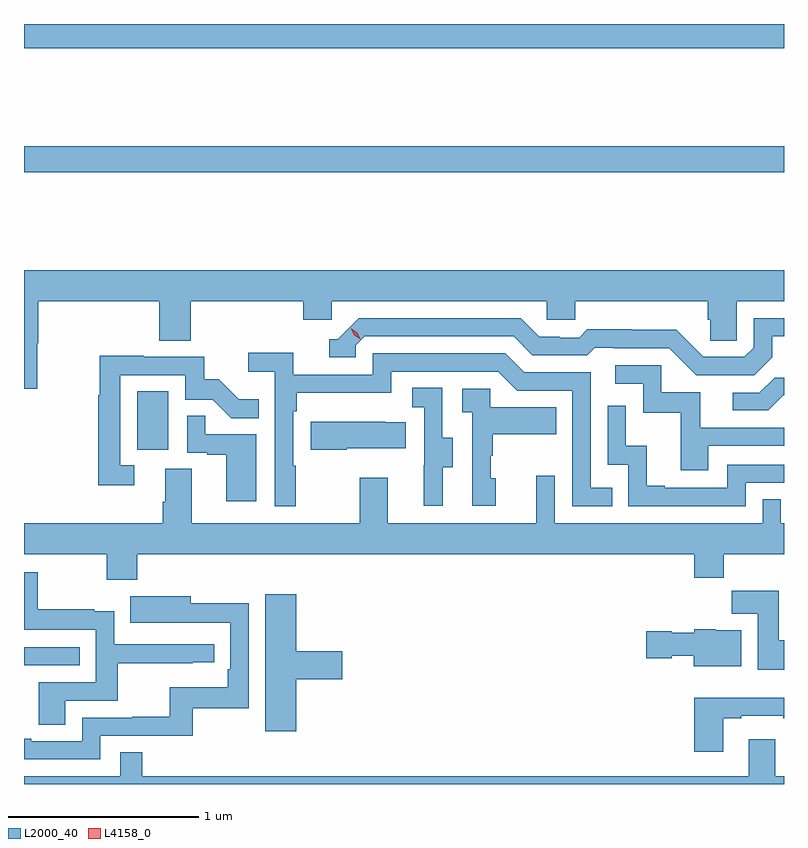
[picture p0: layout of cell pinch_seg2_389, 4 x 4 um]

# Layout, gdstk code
import gdstk
lib = gdstk.Library(unit=1e-6, precision=1e-09)
def R(c, l, rs):  # rectangles x0, y0, x1, y1
    for r in rs: c.add(gdstk.rectangle(r[:2], r[2:], *l))
def P(c, l, *ps):  # polygons
    for p in ps: c.add(gdstk.Polygon(p, *l))
L2000_40 = (2000, 40)
L4158_0 = (4158, 0)

pinch_seg2_389 = lib.new_cell('pinch_seg2_389')
R(pinch_seg2_389, L2000_40, [(969.252,621.744,969.545,621.84), (969.848,622.878,970.012,623.185), (969.252,624.34,973.252,624.476), (969.252,624.992,973.252,625.119)])
P(pinch_seg2_389, L2000_40, [(969.321,623.438),(969.326,623.438),(969.326,623.66),(969.965,623.66),(969.965,623.452),(970.13,623.452),(970.13,623.66),(970.721,623.66),(970.721,623.562),(970.872,623.562),(970.872,623.66),(972.003,623.66),(972.003,623.562),(972.153,623.562),(972.153,623.66),(972.851,623.66),(972.851,623.562),(972.865,623.562),(972.865,623.452),(973.002,623.452),(973.002,623.66),(973.252,623.66),(973.252,623.824),(969.252,623.824),(969.252,623.199),(969.321,623.199)],
  [(973.189,623.365),(973.189,623.475),(973.252,623.475),(973.252,623.571),(973.092,623.571),(973.092,623.415),(973.044,623.367),(972.828,623.367),(972.686,623.509),(972.45,623.509),(972.45,623.512),(972.217,623.512),(972.175,623.469),(972.072,623.469),(972.072,623.472),(971.965,623.472),(971.866,623.571),(971.013,623.571),(970.902,623.46),(970.859,623.46),(970.859,623.364),(970.998,623.364),(970.998,623.427),(971.046,623.475),(971.829,623.475),(971.928,623.376),(972.217,623.376),(972.256,623.415),(972.355,623.415),(972.355,623.412),(972.648,623.412),(972.789,623.271),(973.095,623.271)],
  [(970.681,622.793),(970.668,622.793),(970.668,623.081),(970.688,623.081),(970.688,623.177),(971.184,623.177),(971.184,623.289),(971.748,623.289),(971.847,623.19),(972.138,623.19),(972.138,622.581),(972.347,622.581),(972.347,622.677),(972.234,622.677),(972.234,623.286),(971.884,623.286),(971.785,623.385),(971.088,623.385),(971.088,623.274),(970.67,623.274),(970.67,623.39),(970.431,623.39),(970.431,623.288),(970.572,623.288),(970.572,622.581),(970.681,622.581)],
  [(969.832,622.797),(969.759,622.797),(969.759,623.271),(970.101,623.271),(970.101,623.142),(970.245,623.142),(970.343,623.044),(970.487,623.044),(970.487,623.143),(970.383,623.143),(970.276,623.25),(970.2,623.25),(970.2,623.367),(969.881,623.367),(969.881,623.372),(969.651,623.372),(969.651,623.164),(969.643,623.164),(969.643,622.692),(969.832,622.692)],
  [(972.853,622.899),(973.252,622.899),(973.252,622.995),(972.811,622.995),(972.811,623.181),(972.606,623.181),(972.606,623.322),(972.363,623.322),(972.363,623.226),(972.51,623.226),(972.51,623.073),(972.709,623.073),(972.709,622.77),(972.853,622.77)],
  [(973.249,623.166),(973.252,623.166),(973.252,623.258),(973.202,623.258),(973.122,623.178),(972.981,623.178),(972.981,623.085),(973.168,623.085)],
  [(971.455,622.786),(971.509,622.786),(971.509,622.941),(971.454,622.941),(971.454,623.204),(971.295,623.204),(971.295,623.101),(971.358,623.101),(971.358,622.797),(971.357,622.797),(971.357,622.584),(971.455,622.584)],
  [(971.734,622.728),(971.709,622.728),(971.709,622.847),(971.719,622.847),(971.719,622.961),(972.053,622.961),(972.053,623.101),(971.706,623.101),(971.706,623.199),(971.559,623.199),(971.559,623.075),(971.61,623.075),(971.61,622.584),(971.734,622.584)],
  [(973.05,622.704),(973.252,622.704),(973.252,622.8),(972.954,622.8),(972.954,622.677),(972.625,622.677),(972.625,622.69),(972.53,622.69),(972.53,622.898),(972.42,622.898),(972.42,623.11),(972.324,623.11),(972.324,622.8),(972.432,622.8),(972.432,622.581),(973.05,622.581)],
  [(970.474,622.959),(970.205,622.959),(970.205,623.057),(970.11,623.057),(970.11,622.863),(970.217,622.863),(970.217,622.851),(970.316,622.851),(970.316,622.608),(970.474,622.608)],
  [(970.951,622.886),(971.261,622.886),(971.261,623.023),(971.153,623.023),(971.153,623.026),(970.76,623.026),(970.76,622.879),(970.951,622.879)],
  [(969.848,622.328),(972.779,622.328),(972.779,622.204),(972.935,622.204),(972.935,622.328),(973.252,622.328),(973.252,622.492),(973.236,622.492),(973.236,622.619),(973.14,622.619),(973.14,622.492),(972.045,622.492),(972.045,622.741),(971.948,622.741),(971.948,622.492),(971.167,622.492),(971.167,622.732),(971.02,622.732),(971.02,622.492),(970.135,622.492),(970.135,622.778),(969.995,622.778),(969.995,622.604),(969.983,622.604),(969.983,622.492),(969.252,622.492),(969.252,622.328),(969.688,622.328),(969.688,622.193),(969.848,622.193)],
  [(969.469,621.558),(969.746,621.558),(969.746,621.754),(970.139,621.754),(970.139,621.759),(970.252,621.759),(970.252,621.855),(969.726,621.855),(969.726,622.027),(969.623,622.027),(969.623,622.039),(969.325,622.039),(969.325,622.233),(969.252,622.233),(969.252,621.93),(969.63,621.93),(969.63,621.654),(969.329,621.654),(969.329,621.43),(969.469,621.43)],
  [(973.252,621.876),(973.225,621.876),(973.225,622.135),(972.976,622.135),(972.976,622.016),(973.115,622.016),(973.115,621.72),(973.252,621.72)],
  [(970.684,621.671),(970.927,621.671),(970.927,621.818),(970.684,621.818),(970.684,622.117),(970.523,622.117),(970.523,621.396),(970.684,621.396)],
  [(969.654,621.372),(970.141,621.372),(970.141,621.519),(970.434,621.519),(970.434,622.07),(970.129,622.07),(970.129,622.108),(969.811,622.108),(969.811,621.968),(970.025,621.968),(970.025,621.969),(970.338,621.969),(970.338,621.724),(970.325,621.724),(970.325,621.628),(970.02,621.628),(970.02,621.473),(969.823,621.473),(969.823,621.468),(969.558,621.468),(969.558,621.345),(969.289,621.345),(969.289,621.358),(969.252,621.358),(969.252,621.249),(969.654,621.249)],
  [(973.027,621.928),(972.894,621.928),(972.894,621.934),(972.78,621.934),(972.78,621.916),(972.66,621.916),(972.66,621.924),(972.528,621.924),(972.528,621.782),(972.66,621.782),(972.66,621.794),(972.776,621.794),(972.776,621.74),(973.027,621.74)],
  [(972.931,621.465),(973.027,621.465),(973.027,621.477),(973.247,621.477),(973.247,621.465),(973.252,621.465),(973.252,621.574),(972.779,621.574),(972.779,621.288),(972.931,621.288)],
  [(973.252,621.16),(973.207,621.16),(973.207,621.355),(973.067,621.355),(973.067,621.16),(969.875,621.16),(969.875,621.287),(969.759,621.287),(969.759,621.16),(969.252,621.16),(969.252,621.119),(973.252,621.119)])
P(pinch_seg2_389, L4158_0, [(971.021,623.46),(970.991,623.48),(970.975,623.513),(970.975,623.514),(970.976,623.514),(971.006,623.494),(971.021,623.461),(971.021,623.46)])

lib.write_gds('pinch_seg2_389.gds')
